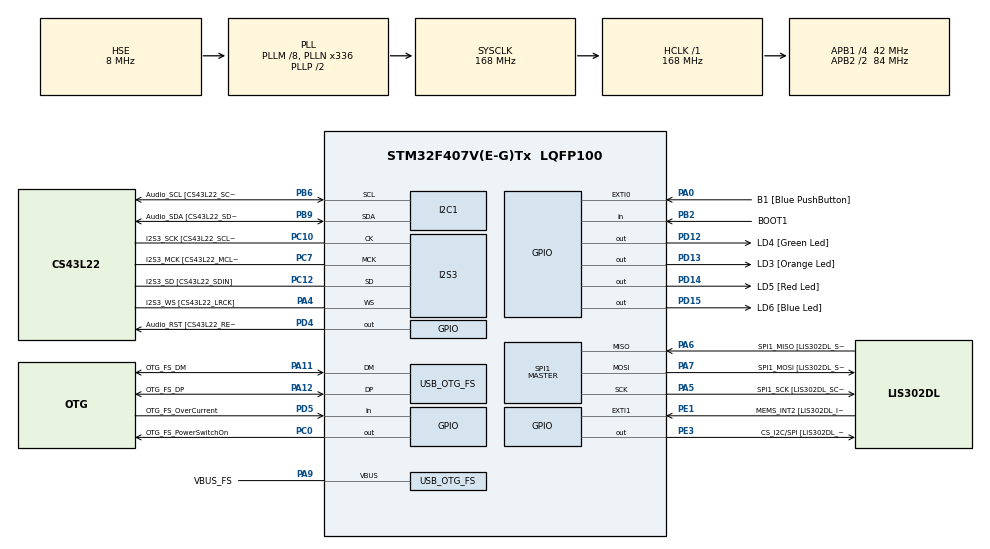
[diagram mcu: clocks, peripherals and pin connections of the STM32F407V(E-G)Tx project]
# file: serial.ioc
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I2S3.AudioFreq-Half_Duplex_Master=I2S_AUDIOFREQ_96K
I2S3.ErrorAudioFreq=-2.34 %
I2S3.ErrorAudioFreq-Half_Duplex_Master=0.8 %
I2S3.FullDuplexMode=I2S_FULLDUPLEXMODE_DISABLE
I2S3.Instance=SPI$Index
I2S3.RealAudioFreq=93.75 KHz
I2S3.RealAudioFreq-Half_Duplex_Master=96.774 KHz
I2S3.VirtualMode=I2S_MODE_MASTER
Mcu.Family=STM32F4
Mcu.Name=STM32F407V(E-G)Tx
Mcu.Package=LQFP100
NVIC.OTG_FS_IRQn=true\:0\:0\:false\:false\:true\:true\:true\:true
NVIC.PriorityGroup=NVIC_PRIORITYGROUP_0
PA0-WKUP.GPIO_Label=B1 [Blue PushButton]
PA0-WKUP.GPIO_ModeDefaultEXTI=GPIO_MODE_EVT_RISING
PA0-WKUP.GPIO_PuPd=GPIO_NOPULL
PA0-WKUP.Signal=GPXTI0
PA10.GPIO_Label=OTG_FS_ID
PA10.GPIO_Mode=GPIO_MODE_AF_PP
PA10.GPIO_PuPd=GPIO_NOPULL
PA10.GPIO_Speed=GPIO_SPEED_FREQ_LOW
PA10.Signal=USB_OTG_FS_ID
PA11.GPIO_Label=OTG_FS_DM
PA11.GPIO_Mode=GPIO_MODE_AF_PP
PA11.GPIO_PuPd=GPIO_NOPULL
PA11.GPIO_Speed=GPIO_SPEED_FREQ_LOW
PA11.Mode=Device_Only
PA11.Signal=USB_OTG_FS_DM
PA12.GPIO_Label=OTG_FS_DP
PA12.GPIO_Mode=GPIO_MODE_AF_PP
PA12.GPIO_PuPd=GPIO_NOPULL
PA12.GPIO_Speed=GPIO_SPEED_FREQ_LOW
PA12.Mode=Device_Only
PA12.Signal=USB_OTG_FS_DP
PA13.GPIO_Label=SWDIO
PA13.Mode=Serial_Wire
PA13.Signal=SYS_JTMS-SWDIO
PA14.GPIO_Label=SWCLK
PA14.Mode=Serial_Wire
PA14.Signal=SYS_JTCK-SWCLK
PA4.GPIO_Label=I2S3_WS [CS43L22_LRCK]
PA4.GPIO_Mode=GPIO_MODE_AF_PP
PA4.GPIO_PuPd=GPIO_NOPULL
PA4.GPIO_Speed=GPIO_SPEED_FREQ_LOW
PA4.Mode=Half_Duplex_Master
PA4.Signal=I2S3_WS
PA5.GPIO_Label=SPI1_SCK [LIS302DL_SCL/SPC]
PA5.GPIO_Mode=GPIO_MODE_AF_PP
PA5.GPIO_PuPd=GPIO_NOPULL
PA5.GPIO_Speed=GPIO_SPEED_FREQ_LOW
PA5.Mode=Full_Duplex_Master
PA5.Signal=SPI1_SCK
PA6.GPIO_Label=SPI1_MISO [LIS302DL_SDO]
PA6.GPIO_Mode=GPIO_MODE_AF_PP
PA6.GPIO_PuPd=GPIO_NOPULL
PA6.GPIO_Speed=GPIO_SPEED_FREQ_LOW
PA6.Mode=Full_Duplex_Master
PA6.Signal=SPI1_MISO
PA7.GPIO_Label=SPI1_MOSI [LIS302DL_SDA/SDI/SDO]
PA7.GPIO_Mode=GPIO_MODE_AF_PP
PA7.GPIO_PuPd=GPIO_NOPULL
PA7.GPIO_Speed=GPIO_SPEED_FREQ_LOW
PA7.Mode=Full_Duplex_Master
PA7.Signal=SPI1_MOSI
PA9.GPIO_Label=VBUS_FS
PA9.GPIO_Mode=GPIO_MODE_INPUT
PA9.GPIO_PuPd=GPIO_NOPULL
PA9.Mode=Activate_VBUS
PA9.Signal=USB_OTG_FS_VBUS
PB10.GPIO_Label=CLK_IN [MP45DT02_CLK]
PB10.GPIO_Mode=GPIO_MODE_AF_PP
PB10.GPIO_PuPd=GPIO_NOPULL
PB10.GPIO_Speed=GPIO_SPEED_FREQ_LOW
PB10.Signal=I2S2_CK
PB2.GPIO_Label=BOOT1
PB2.GPIO_Mode=GPIO_MODE_INPUT
PB2.GPIO_PuPd=GPIO_NOPULL
PB2.Signal=GPIO_Input
PB3.GPIO_Label=SWO
PB3.Signal=SYS_JTDO-SWO
PB6.GPIO_Label=Audio_SCL [CS43L22_SCL]
PB6.GPIO_Mode=GPIO_MODE_AF_OD
PB6.GPIO_Pu=GPIO_PULLUP
PB6.GPIO_PuPd=GPIO_NOPULL
PB6.GPIO_Speed=GPIO_SPEED_FREQ_LOW
PB6.Mode=I2C
PB6.Signal=I2C1_SCL
PB9.GPIO_Label=Audio_SDA [CS43L22_SDA]
PB9.GPIO_Mode=GPIO_MODE_AF_OD
PB9.GPIO_Pu=GPIO_PULLUP
PB9.GPIO_PuPd=GPIO_NOPULL
PB9.GPIO_Speed=GPIO_SPEED_FREQ_LOW
PB9.Mode=I2C
PB9.Signal=I2C1_SDA
PC0.GPIO_Label=OTG_FS_PowerSwitchOn
PC0.GPIO_PuPd=GPIO_NOPULL
PC0.GPIO_Speed=GPIO_SPEED_FREQ_LOW
PC0.PinState=GPIO_PIN_SET
PC0.Signal=GPIO_Output
PC10.GPIO_Label=I2S3_SCK [CS43L22_SCLK]
PC10.GPIO_Mode=GPIO_MODE_AF_PP
PC10.GPIO_PuPd=GPIO_NOPULL
PC10.GPIO_Speed=GPIO_SPEED_FREQ_LOW
PC10.Mode=Half_Duplex_Master
PC10.Signal=I2S3_CK
PC12.GPIO_Label=I2S3_SD [CS43L22_SDIN]
PC12.GPIO_Mode=GPIO_MODE_AF_PP
PC12.GPIO_PuPd=GPIO_NOPULL
PC12.GPIO_Speed=GPIO_SPEED_FREQ_LOW
PC12.Mode=Half_Duplex_Master
PC12.Signal=I2S3_SD
PC14-OSC32_IN.GPIO_Label=PC14-OSC32_IN
PC14-OSC32_IN.Mode=LSE-External-Oscillator
PC14-OSC32_IN.Signal=RCC_OSC32_IN
PC15-OSC32_OUT.GPIO_Label=PC15-OSC32_OUT
PC15-OSC32_OUT.Mode=LSE-External-Oscillator
PC15-OSC32_OUT.Signal=RCC_OSC32_OUT
PC3.GPIO_Label=PDM_OUT [MP45DT02_DOUT]
PC3.GPIO_Mode=GPIO_MODE_AF_PP
PC3.GPIO_PuPd=GPIO_NOPULL
PC3.GPIO_Speed=GPIO_SPEED_FREQ_LOW
PC3.Signal=I2S2_SD
PC7.GPIO_Label=I2S3_MCK [CS43L22_MCLK]
PC7.GPIO_Mode=GPIO_MODE_AF_PP
PC7.GPIO_PuPd=GPIO_NOPULL
PC7.GPIO_Speed=GPIO_SPEED_FREQ_LOW
PC7.Mode=Master_Clock_Activated
PC7.Signal=I2S3_MCK
PD12.GPIO_Label=LD4 [Green Led]
PD12.GPIO_PuPd=GPIO_NOPULL
PD12.GPIO_Speed=GPIO_SPEED_FREQ_LOW
PD12.Signal=GPIO_Output
PD13.GPIO_Label=LD3 [Orange Led]
PD13.GPIO_PuPd=GPIO_NOPULL
PD13.GPIO_Speed=GPIO_SPEED_FREQ_LOW
PD13.Signal=GPIO_Output
PD14.GPIO_Label=LD5 [Red Led]
PD14.GPIO_PuPd=GPIO_NOPULL
PD14.GPIO_Speed=GPIO_SPEED_FREQ_LOW
PD14.Signal=GPIO_Output
PD15.GPIO_Label=LD6 [Blue Led]
PD15.GPIO_PuPd=GPIO_NOPULL
PD15.GPIO_Speed=GPIO_SPEED_FREQ_LOW
PD15.Signal=GPIO_Output
PD4.GPIO_Label=Audio_RST [CS43L22_RESET]
PD4.GPIO_PuPd=GPIO_NOPULL
PD4.GPIO_Speed=GPIO_SPEED_FREQ_LOW
PD4.Signal=GPIO_Output
PD5.GPIO_Label=OTG_FS_OverCurrent
PD5.GPIO_Mode=GPIO_MODE_INPUT
PD5.GPIO_PuPd=GPIO_NOPULL
PD5.Signal=GPIO_Input
PE1.GPIO_Label=MEMS_INT2 [LIS302DL_INT2]
PE1.GPIO_ModeDefaultEXTI=GPIO_MODE_EVT_RISING
PE1.GPIO_PuPd=GPIO_NOPULL
PE1.Signal=GPXTI1
PE3.GPIO_Label=CS_I2C/SPI [LIS302DL_CS_I2C/SPI]
PE3.GPIO_PuPd=GPIO_NOPULL
PE3.GPIO_Speed=GPIO_SPEED_FREQ_LOW
PE3.Signal=GPIO_Output
PH0-OSC_IN.GPIO_Label=PH0-OSC_IN
PH0-OSC_IN.Mode=HSE-External-Oscillator
PH0-OSC_IN.Signal=RCC_OSC_IN
PH1-OSC_OUT.GPIO_Label=PH1-OSC_OUT
PH1-OSC_OUT.Mode=HSE-External-Oscillator
PH1-OSC_OUT.Signal=RCC_OSC_OUT
ProjectManager.HeapSize=0x400
ProjectManager.StackSize=0x400
ProjectManager.TargetToolchain=STM32CubeIDE
RCC.48MHZClocksFreq_Value=48000000
RCC.AHBFreq_Value=168000000
RCC.APB1CLKDivider=RCC_HCLK_DIV4
RCC.APB1Freq_Value=42000000
RCC.APB1TimFreq_Value=84000000
RCC.APB2CLKDivider=RCC_HCLK_DIV2
RCC.APB2Freq_Value=84000000
RCC.APB2TimFreq_Value=168000000
RCC.CortexFreq_Value=168000000
RCC.HCLKFreq_Value=168000000
RCC.HSE_VALUE=8000000
RCC.HSI_VALUE=16000000
RCC.PLLM=8
RCC.PLLN=336
RCC.PLLQ=7
RCC.SYSCLKFreq_VALUE=168000000
RCC.SYSCLKSource=RCC_SYSCLKSOURCE_PLLCLK
RCC.VCOOutputFreq_Value=336000000
SPI1.BaudRatePrescaler-Full_Duplex_Master=SPI_BAUDRATEPRESCALER_2
SPI1.CalculateBaudRate-Full_Duplex_Master=42.0 MBits/s
SPI1.Direction=SPI_DIRECTION_2LINES
SPI1.Mode=SPI_MODE_MASTER
SPI1.Mode-Full_Duplex_Master=SPI_MODE_MASTER
SPI1.VirtualType=VM_MASTER
USB_DEVICE.CLASS_NAME_FS=CDC
USB_DEVICE.VirtualMode-CDC_FS=Cdc
USB_DEVICE.VirtualModeFS=Cdc_FS
USB_OTG_FS.VirtualMode=Device_Only
VP_CRC_VS_CRC.Mode=CRC_Activate
VP_RNG_VS_RNG.Mode=RNG_Activate
VP_USB_DEVICE_VS_USB_DEVICE_CDC_FS.Mode=CDC_FS
VP_wolfSSL.I-CUBE-wolfSSL_VS_wolfSSLJjwolfSSL_5.7.6_5.7.6.Mode=wolfSSLJjwolfSSL
board=STM32F407G-DISC1
wolfSSL.I-CUBE-wolfSSL.5.7.6.WOLF_CONF_AESCBC=1
wolfSSL.I-CUBE-wolfSSL.5.7.6.WOLF_CONF_OPENSSL_EXTRA=1
wolfSSL.I-CUBE-wolfSSL.5.7.6.WOLF_CONF_RNG=1
wolfSSL.I-CUBE-wolfSSL.5.7.6.wolfSSLCcwolfSSLJjwolfCryptJjCore=true
wolfSSL.I-CUBE-wolfSSL.5.7.6.wolfSSLCcwolfSSLJjwolfSSLJjCore=true

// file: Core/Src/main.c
/* USER CODE BEGIN Header */
/**
  ******************************************************************************
  * @file           : main.c
  * @brief          : Main program body
  ******************************************************************************
  * @attention
  *
  * Copyright (c) 2025 STMicroelectronics.
  * All rights reserved.
  *
  * This software is licensed under terms that can be found in the LICENSE file
  * in the root directory of this software component.
  * If no LICENSE file comes with this software, it is provided AS-IS.
  *
  ******************************************************************************
  */
/* USER CODE END Header */
#include "main.h"
#include "usb_device.h"

/* USER CODE BEGIN Includes */
#include "commhandler.h"
#include "usbd_cdc_if.h"
/* USER CODE END Includes */

CRC_HandleTypeDef hcrc;

I2C_HandleTypeDef hi2c1;

I2S_HandleTypeDef hi2s3;

RNG_HandleTypeDef hrng;

SPI_HandleTypeDef hspi1;

/* USER CODE BEGIN PV */
uint8_t messageCounter = 1;
uint8_t dataReceivedFlag = 0;
uint8_t receiveBuffer[2000];
uint16_t receiveCounter = 0;
uint8_t sendBuffer[2500];
uint16_t sendCounter = 0;
const unsigned char tokenCert[] = {
		0x30,0x82,0x03,0x47,0x30,0x82,0x02,0x2f,0x02,0x14,0x6c,0xb5,0x5b,0xfc,0x6c,0x8a,
		0xd1,0xbe,0xd9,0xfb,0x6f,0x06,0xd3,0x68,0x33,0x38,0xe8,0x1b,0xc7,0x08,0x30,0x0d,
		0x06,0x09,0x2a,0x86,0x48,0x86,0xf7,0x0d,0x01,0x01,0x0b,0x05,0x00,0x30,0x5e,0x31,
		0x0b,0x30,0x09,0x06,0x03,0x55,0x04,0x06,0x13,0x02,0x53,0x4b,0x31,0x0f,0x30,0x0d,
		0x06,0x03,0x55,0x04,0x08,0x0c,0x06,0x4b,0x6f,0x73,0x69,0x63,0x65,0x31,0x0f,0x30,
		0x0d,0x06,0x03,0x55,0x04,0x07,0x0c,0x06,0x4b,0x6f,0x73,0x69,0x63,0x65,0x31,0x0d,
		0x30,0x0b,0x06,0x03,0x55,0x04,0x0a,0x0c,0x04,0x55,0x50,0x4a,0x53,0x31,0x11,0x30,
		0x0f,0x06,0x03,0x55,0x04,0x0b,0x0c,0x08,0x64,0x69,0x70,0x6c,0x6f,0x6d,0x6b,0x61,
		0x31,0x0b,0x30,0x09,0x06,0x03,0x55,0x04,0x03,0x0c,0x02,0x43,0x41,0x30,0x1e,0x17,
		0x0d,0x32,0x35,0x30,0x38,0x31,0x39,0x31,0x36,0x34,0x37,0x35,0x36,0x5a,0x17,0x0d,
		0x32,0x37,0x31,0x31,0x32,0x32,0x31,0x36,0x34,0x37,0x35,0x36,0x5a,0x30,0x62,0x31,
		0x0b,0x30,0x09,0x06,0x03,0x55,0x04,0x06,0x13,0x02,0x53,0x4b,0x31,0x0f,0x30,0x0d,
		0x06,0x03,0x55,0x04,0x08,0x0c,0x06,0x4b,0x6f,0x73,0x69,0x63,0x65,0x31,0x0f,0x30,
		0x0d,0x06,0x03,0x55,0x04,0x07,0x0c,0x06,0x4b,0x6f,0x73,0x69,0x63,0x65,0x31,0x21,
		0x30,0x1f,0x06,0x03,0x55,0x04,0x0a,0x0c,0x18,0x49,0x6e,0x74,0x65,0x72,0x6e,0x65,
		0x74,0x20,0x57,0x69,0x64,0x67,0x69,0x74,0x73,0x20,0x50,0x74,0x79,0x20,0x4c,0x74,
		0x64,0x31,0x0e,0x30,0x0c,0x06,0x03,0x55,0x04,0x03,0x0c,0x05,0x74,0x6f,0x6b,0x65,
		0x6e,0x30,0x82,0x01,0x22,0x30,0x0d,0x06,0x09,0x2a,0x86,0x48,0x86,0xf7,0x0d,0x01,
		0x01,0x01,0x05,0x00,0x03,0x82,0x01,0x0f,0x00,0x30,0x82,0x01,0x0a,0x02,0x82,0x01,
		0x01,0x00,0x9b,0x86,0x6f,0x54,0x33,0xe2,0x80,0xca,0x05,0x8f,0xa9,0xd4,0xec,0x40,
		0x1f,0x84,0x76,0x74,0x01,0x02,0xc4,0xd3,0xdd,0xa3,0xeb,0xfa,0xf2,0xe4,0xf0,0xa4,
		0x5c,0xd8,0x17,0xd9,0xb6,0x61,0x38,0xda,0x6f,0x64,0xc2,0xd1,0xb7,0x0b,0xba,0xb3,
		0x18,0x85,0x61,0x04,0x64,0xec,0x26,0xd2,0xf4,0x59,0xc0,0x25,0xa4,0x41,0xa8,0x25,
		0xbc,0xfe,0x74,0xcc,0x37,0x5e,0x8c,0xc6,0x2d,0xdb,0x4b,0xc8,0x4e,0xb3,0xd2,0x83,
		0x5c,0x44,0xbd,0x07,0x26,0x09,0xeb,0x2a,0x66,0x5d,0x81,0xd4,0x0c,0x16,0xc6,0x50,
		0x1f,0xca,0x97,0xf8,0x61,0x6d,0x80,0x3b,0x07,0x69,0x47,0x71,0xe7,0x5c,0x3a,0x97,
		0x22,0x30,0x4e,0x5c,0xec,0x49,0x50,0x21,0x2e,0x52,0x4d,0x9a,0x7b,0x6b,0x03,0xbf,
		0x8e,0x61,0x60,0xc9,0x79,0x52,0x3b,0x91,0xcc,0xc9,0x79,0xb3,0xdc,0xec,0xc2,0xd0,
		0xb5,0x8c,0x0e,0xc6,0x79,0xdd,0xd2,0xc8,0xb9,0x2e,0xc6,0x9f,0x41,0x29,0x36,0xb5,
		0x18,0x68,0x88,0xbf,0xc1,0x24,0x7b,0xf7,0x46,0x52,0x0d,0x14,0x39,0xbd,0xae,0x83,
		0x11,0x43,0x1a,0x9d,0x4b,0x07,0xda,0xac,0x84,0xba,0x69,0x92,0x50,0x5e,0x54,0x74,
		0x47,0x1d,0x25,0xcb,0x2a,0x6c,0x1c,0xfa,0x57,0x7d,0x67,0xb4,0xa6,0xb8,0x85,0x1f,
		0xfe,0x9e,0x6e,0xae,0x11,0x44,0x95,0xd4,0xa3,0x65,0x52,0x62,0x9d,0x61,0xab,0xca,
		0x79,0x79,0x3e,0x6e,0xac,0xef,0x3f,0x3a,0xec,0x41,0x56,0xe8,0xe6,0x33,0xb4,0x89,
		0x9f,0xb7,0x97,0x40,0x6c,0x72,0x1b,0x54,0x81,0xc3,0xdc,0xef,0x05,0xd7,0x66,0x33,
		0x89,0x71,0x02,0x03,0x01,0x00,0x01,0x30,0x0d,0x06,0x09,0x2a,0x86,0x48,0x86,0xf7,
		0x0d,0x01,0x01,0x0b,0x05,0x00,0x03,0x82,0x01,0x01,0x00,0x73,0x19,0x96,0xce,0x0d,
		0x5e,0xa1,0x92,0xb8,0x26,0x40,0x8d,0x4b,0x92,0x4b,0xb9,0x6d,0x35,0xe8,0xcf,0x38,
		0xe8,0x58,0xaf,0xb6,0x0e,0x18,0xad,0xf1,0x9e,0x76,0x42,0x73,0x52,0x26,0x1a,0xec,
		0x2c,0xc3,0xb3,0x33,0x37,0x19,0xca,0x75,0xd3,0x97,0x66,0xf7,0x49,0x60,0xa9,0xbe,
		0xae,0x06,0x28,0xd3,0x14,0xbb,0x59,0xba,0x7c,0x4b,0x2e,0x96,0x7a,0x16,0x73,0xf6,
		0xf3,0x3d,0x38,0xd1,0xde,0xb5,0x3f,0x84,0x77,0xb4,0xe2,0xbb,0xc5,0x47,0x64,0x98,
		0x1d,0x96,0xa7,0x9a,0x45,0x78,0xfb,0xa3,0xf1,0xa4,0x44,0x2e,0x9d,0xec,0xe0,0x1d,
		0x47,0x1b,0x86,0x7c,0x54,0xe9,0x5a,0x3a,0xa1,0xf8,0xa7,0x78,0x89,0x3c,0xf5,0x8e,
		0x35,0xb1,0x9e,0x4d,0x09,0xef,0x79,0xb5,0x79,0xaf,0x66,0x34,0x19,0xa0,0x9f,0x7c,
		0x8c,0x5f,0xdc,0x19,0x4a,0xe3,0x00,0x88,0xbe,0xd3,0x87,0x8a,0xe9,0x1b,0xb1,0xe4,
		0xbe,0x51,0xe2,0x9b,0x88,0xad,0x02,0xfc,0xec,0xf7,0xc6,0x14,0xf0,0x7e,0xcc,0x1c,
		0xe2,0xf3,0xab,0x51,0xd9,0xa0,0x9a,0xe8,0xcb,0x2d,0x80,0x18,0x54,0x7d,0x27,0xb4,
		0xa4,0x66,0xde,0x63,0x82,0xd9,0xcc,0xa7,0x80,0xc0,0x80,0xc1,0xc9,0xba,0xd8,0xd6,
		0x16,0xb0,0x25,0x2c,0xff,0xa1,0x35,0x32,0x6e,0x0a,0x66,0xb7,0x61,0x82,0x1d,0xdf,
		0x15,0xcb,0x9c,0x1b,0xd5,0x25,0x01,0xb3,0x53,0xfa,0xd0,0x5f,0x35,0x17,0x26,0x96,
		0x72,0x9d,0x44,0x16,0x6a,0x3b,0xbd,0xa6,0x7f,0x55,0x31,0xcd,0x8c,0xb5,0x03,0xab,
		0x7b,0x67,0x8e,0x9a,0x9c,0xb1,0x8c,0x6b,0x14,0x4d,0xab
};
const uint16_t tokenCertLen = sizeof(tokenCert);
const unsigned char tokenPrivKey[] = {
		0x30,0x82,0x04,0xbc,0x02,0x01,0x00,0x30,0x0d,0x06,0x09,0x2a,0x86,0x48,0x86,0xf7,
		0x0d,0x01,0x01,0x01,0x05,0x00,0x04,0x82,0x04,0xa6,0x30,0x82,0x04,0xa2,0x02,0x01,
		0x00,0x02,0x82,0x01,0x01,0x00,0x9b,0x86,0x6f,0x54,0x33,0xe2,0x80,0xca,0x05,0x8f,
		0xa9,0xd4,0xec,0x40,0x1f,0x84,0x76,0x74,0x01,0x02,0xc4,0xd3,0xdd,0xa3,0xeb,0xfa,
		0xf2,0xe4,0xf0,0xa4,0x5c,0xd8,0x17,0xd9,0xb6,0x61,0x38,0xda,0x6f,0x64,0xc2,0xd1,
		0xb7,0x0b,0xba,0xb3,0x18,0x85,0x61,0x04,0x64,0xec,0x26,0xd2,0xf4,0x59,0xc0,0x25,
		0xa4,0x41,0xa8,0x25,0xbc,0xfe,0x74,0xcc,0x37,0x5e,0x8c,0xc6,0x2d,0xdb,0x4b,0xc8,
		0x4e,0xb3,0xd2,0x83,0x5c,0x44,0xbd,0x07,0x26,0x09,0xeb,0x2a,0x66,0x5d,0x81,0xd4,
		0x0c,0x16,0xc6,0x50,0x1f,0xca,0x97,0xf8,0x61,0x6d,0x80,0x3b,0x07,0x69,0x47,0x71,
		0xe7,0x5c,0x3a,0x97,0x22,0x30,0x4e,0x5c,0xec,0x49,0x50,0x21,0x2e,0x52,0x4d,0x9a,
		0x7b,0x6b,0x03,0xbf,0x8e,0x61,0x60,0xc9,0x79,0x52,0x3b,0x91,0xcc,0xc9,0x79,0xb3,
		0xdc,0xec,0xc2,0xd0,0xb5,0x8c,0x0e,0xc6,0x79,0xdd,0xd2,0xc8,0xb9,0x2e,0xc6,0x9f,
		0x41,0x29,0x36,0xb5,0x18,0x68,0x88,0xbf,0xc1,0x24,0x7b,0xf7,0x46,0x52,0x0d,0x14,
		0x39,0xbd,0xae,0x83,0x11,0x43,0x1a,0x9d,0x4b,0x07,0xda,0xac,0x84,0xba,0x69,0x92,
		0x50,0x5e,0x54,0x74,0x47,0x1d,0x25,0xcb,0x2a,0x6c,0x1c,0xfa,0x57,0x7d,0x67,0xb4,
		0xa6,0xb8,0x85,0x1f,0xfe,0x9e,0x6e,0xae,0x11,0x44,0x95,0xd4,0xa3,0x65,0x52,0x62,
		0x9d,0x61,0xab,0xca,0x79,0x79,0x3e,0x6e,0xac,0xef,0x3f,0x3a,0xec,0x41,0x56,0xe8,
		0xe6,0x33,0xb4,0x89,0x9f,0xb7,0x97,0x40,0x6c,0x72,0x1b,0x54,0x81,0xc3,0xdc,0xef,
		0x05,0xd7,0x66,0x33,0x89,0x71,0x02,0x03,0x01,0x00,0x01,0x02,0x82,0x01,0x00,0x49,
		0xd8,0x37,0x95,0x1d,0xfb,0x9e,0x96,0x0d,0xb4,0xec,0x79,0x16,0x61,0xcd,0xf5,0x39,
		0xbf,0x13,0xd9,0xca,0x36,0x24,0xa7,0x57,0xfd,0x34,0x06,0x43,0x42,0x6f,0x79,0x05,
		0x3e,0x10,0xcc,0x31,0xcf,0xf9,0x93,0x38,0xb3,0x95,0xbb,0xa2,0x7e,0xb6,0x16,0x62,
		0x7d,0xd1,0x23,0x95,0xbd,0x95,0x5a,0xe6,0x12,0x99,0x5e,0xb9,0x65,0x8d,0xca,0xae,
		0x0f,0x66,0xfc,0xe4,0x4f,0x96,0xe7,0x68,0xa0,0xa7,0xc9,0xd7,0x1b,0x1b,0x1c,0xe2,
		0x39,0xfa,0x34,0x3c,0x6e,0x49,0xe3,0x7d,0x28,0xff,0x42,0x73,0x10,0x09,0x40,0x4b,
		0x0f,0x1a,0xc7,0x80,0xda,0xc6,0x46,0x95,0x2f,0x3e,0xa0,0xba,0x8b,0x17,0x27,0x23,
		0x96,0x18,0x75,0x28,0xf0,0x50,0x4b,0xb0,0xe0,0x38,0x58,0x94,0x13,0x88,0x98,0xf3,
		0x74,0xd3,0xee,0x3f,0x8a,0xbf,0x05,0x66,0x69,0x3a,0xae,0x0f,0xbc,0x06,0x1d,0x0a,
		0xeb,0x39,0xfa,0xc1,0x5e,0x21,0x9a,0xf8,0x3c,0x62,0x85,0xbf,0x99,0x31,0x48,0x7a,
		0xf3,0xfa,0xe6,0x45,0xf6,0x3c,0x5f,0x4a,0x25,0x55,0x14,0x2d,0x2a,0xda,0xee,0x2c,
		0xe7,0xe2,0xb8,0x33,0xc9,0x21,0x86,0xa9,0x7a,0x5f,0x0b,0xd5,0x74,0xec,0xd1,0xe2,
		0x25,0x52,0xef,0x02,0x2f,0xb4,0x3a,0xfd,0x15,0xe5,0x90,0xc0,0x5d,0xc5,0x81,0x83,
		0x57,0xa7,0x11,0x9b,0xcd,0x9c,0xa1,0xae,0x18,0x4f,0xec,0x8d,0x2a,0x22,0xf1,0x3b,
		0x89,0x30,0x39,0xb3,0xb9,0x49,0x6f,0x81,0x4e,0x60,0xac,0xb6,0x00,0xd1,0xac,0x04,
		0x42,0x0d,0x9c,0x8b,0x58,0x94,0xba,0x22,0x05,0x64,0x61,0xd8,0x2d,0x4e,0x1f,0x02,
		0x81,0x81,0x00,0xc3,0xe2,0xe3,0x5c,0x89,0x4b,0xd8,0x9e,0xbb,0xd3,0x71,0x44,0x3d,
		0x48,0x52,0xf4,0x42,0x92,0xec,0x92,0x9c,0xf9,0x33,0xd2,0x0c,0x35,0xdb,0x53,0xb3,
		0x6b,0x48,0xe0,0x64,0xf1,0x63,0xf4,0x6c,0x94,0x2c,0x83,0x62,0x23,0x96,0x4d,0x8f,
		0xaf,0x12,0xff,0x87,0xf4,0x05,0x8e,0x09,0xdf,0x60,0x02,0x6a,0x1e,0x49,0x19,0x78,
		0x43,0x89,0x7e,0x7b,0xee,0xcf,0x76,0x31,0x8a,0xa0,0x38,0x6e,0xa3,0x3d,0x5a,0xba,
		0x67,0xe3,0x87,0xc6,0xc5,0x47,0x08,0x0d,0x5e,0xe0,0x80,0x6b,0xae,0x79,0x8c,0x55,
		0x92,0x6c,0xff,0x21,0xe5,0xe1,0x5f,0xe3,0x58,0x09,0x84,0x2a,0xa4,0xd5,0xc5,0x2c,
		0x76,0xa6,0xf5,0xb1,0x18,0x24,0x89,0xda,0xb8,0x88,0x70,0x86,0xd4,0x5f,0x7c,0x32,
		0xd4,0xf1,0x6b,0x02,0x81,0x81,0x00,0xcb,0x40,0xb7,0x60,0x70,0xbd,0xf8,0x9b,0xb7,
		0xc9,0xa5,0xd5,0x11,0x17,0xc6,0xdd,0xa2,0xa9,0x60,0xcf,0xaa,0x0c,0x96,0xdd,0x34,
		0x5f,0x50,0x49,0x67,0x68,0x6c,0x82,0xf9,0xbe,0x0d,0x23,0x59,0xc8,0x61,0x13,0x99,
		0xc2,0xe1,0xfd,0xb1,0xde,0xfa,0xba,0xf2,0x40,0xc2,0x9a,0x14,0xd7,0xd8,0x13,0x1f,
		0x75,0xab,0x61,0x99,0xc7,0xe7,0x3c,0xae,0x7f,0xbf,0xaf,0x08,0x21,0x48,0x0f,0x9b,
		0x4d,0x95,0xfb,0xd0,0x7b,0x5e,0x27,0xe3,0x6a,0xc8,0x9f,0x30,0xdc,0xca,0x8b,0xfe,
		0xda,0x8f,0x31,0xfd,0xc7,0x46,0x15,0x2c,0x02,0x80,0x62,0x36,0xde,0x98,0x14,0xeb,
		0x39,0xa0,0xe8,0x4c,0xde,0x7d,0xb1,0x5e,0x22,0x2d,0x78,0x27,0x3a,0x72,0xa0,0x02,
		0x43,0x84,0x85,0x70,0xeb,0xfb,0x93,0x02,0x81,0x80,0x04,0xa7,0x5e,0x49,0x73,0x85,
		0x96,0xc6,0xe6,0xa5,0x76,0x5a,0x6d,0xae,0x4b,0x32,0x3c,0x66,0xab,0x32,0x2c,0x82,
		0x8b,0x25,0xa1,0x5e,0xa2,0x30,0x51,0xe1,0xe9,0xa0,0x53,0x25,0x9c,0xff,0x50,0x99,
		0x10,0x99,0xaa,0x7a,0x37,0xf6,0xed,0xc3,0xf6,0x0a,0x96,0x1b,0x49,0x0a,0x7f,0xd7,
		0x8b,0xbb,0x62,0xf4,0x07,0x3e,0x90,0xa9,0xe2,0x19,0x5c,0x2e,0x67,0x45,0x62,0x95,
		0xed,0x8a,0x89,0xae,0x5d,0x25,0xcb,0xa9,0xee,0x30,0xea,0x9b,0x03,0x3e,0x00,0xbb,
		0x51,0x50,0x1b,0xbe,0xd0,0x6a,0x72,0x1a,0x01,0x76,0xea,0x42,0x40,0xe1,0x7b,0x50,
		0x3b,0x21,0xa5,0xb5,0xb6,0xd2,0x71,0x64,0xfc,0x40,0x78,0x0d,0x9f,0xc8,0x9a,0xa6,
		0xa9,0xaf,0x2a,0xb4,0xde,0xf3,0xdf,0x6d,0x49,0xb3,0x02,0x81,0x80,0x10,0xf9,0x41,
		0x97,0x23,0x33,0x2a,0x2c,0xce,0xe7,0x5f,0x1a,0xf1,0x07,0x7c,0x4b,0x0c,0x07,0x7b,
		0x17,0x3c,0x8b,0x3a,0x9a,0x14,0x82,0x95,0x30,0xdc,0x1a,0xe3,0x5c,0xf8,0xc0,0x3f,
		0x56,0xa1,0x6b,0xd3,0x77,0x90,0x92,0xae,0xce,0xc1,0xe8,0xee,0x25,0x68,0x8f,0xb1,
		0xf0,0xae,0x26,0xec,0x5b,0x84,0x78,0x0e,0x2c,0xe3,0x6b,0xc7,0x4a,0xd1,0x03,0xc8,
		0x1d,0x34,0xdf,0x9a,0xa5,0xfb,0x01,0x3a,0xb2,0x41,0xd1,0xdb,0xa6,0x17,0x1e,0xd6,
		0xcc,0x3c,0x87,0x63,0xbe,0xd7,0x34,0xa7,0x5a,0xb4,0x67,0xcc,0xd9,0x7d,0xc8,0x63,
		0xb2,0x50,0x04,0xbc,0xcc,0x9a,0x6c,0x40,0x9c,0xc5,0xb6,0x9a,0xe6,0x92,0x06,0xe6,
		0xa7,0x2f,0x17,0x79,0x75,0x15,0x5b,0x50,0x18,0xd8,0xba,0x4c,0x53,0x02,0x81,0x80,
		0x01,0xc5,0x79,0x43,0x4c,0x89,0xed,0xd3,0xd0,0xaf,0x1a,0xfd,0xd6,0xbb,0xce,0xbd,
		0x1a,0xe7,0xa8,0x09,0x6c,0xfe,0x21,0x94,0x4c,0x2c,0x03,0xbb,0x22,0xbb,0x74,0x4c,
		0xf5,0xc3,0x9a,0xd8,0x28,0x82,0x72,0xc7,0xa7,0x24,0x5f,0xbb,0x89,0x46,0x2e,0x3f,
		0x3c,0x36,0x52,0x2b,0x60,0x0e,0x98,0xd8,0x02,0x8a,0x6b,0x90,0x2a,0x95,0x8c,0x6b,
		0xa3,0xce,0x2a,0x83,0xab,0x81,0xc2,0x2f,0x46,0x3e,0x9a,0x25,0x61,0xcf,0xc9,0xae,
		0xcb,0xc5,0xdb,0xc6,0x59,0x23,0x48,0x72,0x85,0xda,0x46,0x06,0x2e,0x6c,0xab,0x70,
		0x38,0xe5,0x4e,0xdf,0x16,0x05,0x5e,0xda,0x32,0x37,0xa1,0x74,0xdb,0x01,0xbf,0x8c,
		0xd9,0x92,0xa0,0x80,0x9b,0xb2,0x07,0x06,0xa4,0x31,0x4c,0xfc,0xb5,0x0a,0x41,0x2d
};
const uint16_t tokenPrivKeyLen = sizeof(tokenPrivKey);
const unsigned char CACert[] = {
		0x30,0x82,0x03,0x9d,0x30,0x82,0x02,0x85,0xa0,0x03,0x02,0x01,0x02,0x02,0x14,0x24,
		0x82,0x73,0x6a,0x59,0xfa,0x10,0xa8,0x4e,0xb4,0xe6,0xb6,0x50,0x90,0xf8,0x39,0x7e,
		0xe7,0x0e,0xff,0x30,0x0d,0x06,0x09,0x2a,0x86,0x48,0x86,0xf7,0x0d,0x01,0x01,0x0b,
		0x05,0x00,0x30,0x5e,0x31,0x0b,0x30,0x09,0x06,0x03,0x55,0x04,0x06,0x13,0x02,0x53,
		0x4b,0x31,0x0f,0x30,0x0d,0x06,0x03,0x55,0x04,0x08,0x0c,0x06,0x4b,0x6f,0x73,0x69,
		0x63,0x65,0x31,0x0f,0x30,0x0d,0x06,0x03,0x55,0x04,0x07,0x0c,0x06,0x4b,0x6f,0x73,
		0x69,0x63,0x65,0x31,0x0d,0x30,0x0b,0x06,0x03,0x55,0x04,0x0a,0x0c,0x04,0x55,0x50,
		0x4a,0x53,0x31,0x11,0x30,0x0f,0x06,0x03,0x55,0x04,0x0b,0x0c,0x08,0x64,0x69,0x70,
		0x6c,0x6f,0x6d,0x6b,0x61,0x31,0x0b,0x30,0x09,0x06,0x03,0x55,0x04,0x03,0x0c,0x02,
		0x43,0x41,0x30,0x1e,0x17,0x0d,0x32,0x35,0x30,0x38,0x31,0x39,0x31,0x36,0x34,0x31,
		0x35,0x33,0x5a,0x17,0x0d,0x33,0x30,0x30,0x38,0x31,0x38,0x31,0x36,0x34,0x31,0x35,
		0x33,0x5a,0x30,0x5e,0x31,0x0b,0x30,0x09,0x06,0x03,0x55,0x04,0x06,0x13,0x02,0x53,
		0x4b,0x31,0x0f,0x30,0x0d,0x06,0x03,0x55,0x04,0x08,0x0c,0x06,0x4b,0x6f,0x73,0x69,
		0x63,0x65,0x31,0x0f,0x30,0x0d,0x06,0x03,0x55,0x04,0x07,0x0c,0x06,0x4b,0x6f,0x73,
		0x69,0x63,0x65,0x31,0x0d,0x30,0x0b,0x06,0x03,0x55,0x04,0x0a,0x0c,0x04,0x55,0x50,
		0x4a,0x53,0x31,0x11,0x30,0x0f,0x06,0x03,0x55,0x04,0x0b,0x0c,0x08,0x64,0x69,0x70,
		0x6c,0x6f,0x6d,0x6b,0x61,0x31,0x0b,0x30,0x09,0x06,0x03,0x55,0x04,0x03,0x0c,0x02,
		0x43,0x41,0x30,0x82,0x01,0x22,0x30,0x0d,0x06,0x09,0x2a,0x86,0x48,0x86,0xf7,0x0d,
		0x01,0x01,0x01,0x05,0x00,0x03,0x82,0x01,0x0f,0x00,0x30,0x82,0x01,0x0a,0x02,0x82,
		0x01,0x01,0x00,0xa7,0xf4,0xe1,0x26,0xaf,0xfb,0x89,0x2b,0x0b,0xbd,0x14,0x13,0xda,
		0xd7,0x04,0xd4,0xf8,0x35,0x96,0xfc,0x83,0xc8,0x39,0x02,0x1f,0x41,0x16,0x4e,0xf1,
		0x27,0x41,0xa2,0x13,0x8b,0x61,0xe6,0xc7,0x43,0x1e,0xed,0xfc,0x2a,0x77,0xba,0x46,
		0x98,0xe2,0x7b,0xa0,0x80,0x65,0x1c,0xa5,0x4a,0x5c,0xbe,0x9d,0x2f,0x02,0x57,0xf2,
		0x9a,0x80,0xbd,0x6f,0xe6,0xba,0x90,0x6a,0x01,0xd3,0xa2,0xc3,0xe2,0x5e,0xdd,0xe0,
		0x11,0x39,0x67,0x3d,0xe1,0x07,0xc7,0xb9,0xbe,0x4f,0x0c,0x36,0x72,0xa3,0x0b,0x54,
		0xeb,0x1a,0xb9,0x11,0xd9,0x62,0xb0,0x81,0xfa,0x60,0x0c,0x5a,0x97,0x5f,0x46,0x73,
		0x3d,0x8e,0x29,0x9a,0x83,0x2e,0xb7,0x8d,0x35,0x49,0xa6,0x7d,0x49,0xbc,0x65,0xd8,
		0x6d,0x01,0x80,0xff,0x82,0xa8,0xd8,0x9f,0x37,0x78,0x44,0xac,0x42,0xe6,0x5c,0xfa,
		0x8b,0xa4,0x4c,0xb0,0x03,0xa3,0x19,0xf2,0x65,0xfd,0x0f,0xc9,0xad,0x92,0x33,0x41,
		0xa6,0x7c,0x0f,0x59,0x65,0x25,0xd6,0xa8,0xe5,0x20,0x12,0x45,0xa9,0xa5,0xe1,0x9c,
		0x99,0x9a,0x17,0x69,0xae,0x32,0x44,0xca,0x0c,0xcc,0x65,0x2f,0xca,0xfc,0x39,0x07,
		0x3a,0x32,0xcd,0x73,0xb9,0x03,0xe2,0xde,0x98,0x12,0x7d,0x52,0xd8,0x87,0x05,0x82,
		0x58,0xb0,0x10,0xcc,0xe5,0xc0,0x38,0x17,0xdd,0xdc,0x63,0xa9,0x2d,0xe3,0xee,0x29,
		0x25,0x16,0x30,0x2c,0x8e,0x60,0x9a,0x78,0x89,0x24,0xf1,0x5a,0xc4,0x40,0x7e,0x9d,
		0xa9,0xab,0xd4,0xce,0xf3,0xcb,0xcb,0xb3,0x83,0xf5,0xc8,0x23,0x0c,0x5f,0x4b,0xa2,
		0x6e,0x28,0xbf,0x02,0x03,0x01,0x00,0x01,0xa3,0x53,0x30,0x51,0x30,0x1d,0x06,0x03,
		0x55,0x1d,0x0e,0x04,0x16,0x04,0x14,0xc2,0x53,0x15,0x07,0x71,0xe2,0x37,0x7e,0x7f,
		0x84,0xc1,0x12,0xdd,0x9a,0x50,0xd7,0x2d,0x24,0xd0,0x54,0x30,0x1f,0x06,0x03,0x55,
		0x1d,0x23,0x04,0x18,0x30,0x16,0x80,0x14,0xc2,0x53,0x15,0x07,0x71,0xe2,0x37,0x7e,
		0x7f,0x84,0xc1,0x12,0xdd,0x9a,0x50,0xd7,0x2d,0x24,0xd0,0x54,0x30,0x0f,0x06,0x03,
		0x55,0x1d,0x13,0x01,0x01,0xff,0x04,0x05,0x30,0x03,0x01,0x01,0xff,0x30,0x0d,0x06,
		0x09,0x2a,0x86,0x48,0x86,0xf7,0x0d,0x01,0x01,0x0b,0x05,0x00,0x03,0x82,0x01,0x01,
		0x00,0x1e,0x9d,0x6c,0xe6,0xb4,0x2e,0x46,0x54,0xea,0x12,0xf4,0xb2,0xf3,0x8c,0x0e,
		0xc5,0xb0,0x61,0x40,0x37,0x51,0xff,0x71,0xd0,0xc8,0x37,0xdb,0x68,0x8d,0x39,0xec,
		0xc0,0xe7,0x20,0x09,0x97,0xcc,0xe9,0xea,0xf0,0x1c,0x21,0xb1,0x57,0x3f,0x6a,0x62,
		0x45,0x58,0xbe,0x73,0xb4,0x26,0xaf,0xd0,0x89,0xbe,0x6d,0x0e,0x98,0x07,0x03,0xe3,
		0x9a,0x5a,0xc8,0xf4,0xb5,0x4e,0xfe,0xd8,0x10,0x63,0xab,0x66,0x73,0x6e,0xb9,0x24,
		0xf5,0xf3,0x4e,0x9a,0x41,0xa4,0x55,0x7c,0x16,0x99,0x96,0x66,0xec,0x7c,0xd6,0x5c,
		0x8e,0x7e,0xcf,0x36,0xfd,0x71,0x65,0x2a,0x33,0xa5,0xd2,0xb5,0x14,0xb5,0x5c,0x4b,
		0xe4,0x21,0xab,0x9f,0x4a,0x1e,0xff,0x46,0x9e,0xfc,0x44,0x1f,0xae,0xd3,0x23,0x79,
		0xb7,0x2e,0x4b,0x25,0xc2,0x6a,0x00,0xdf,0xa6,0xa0,0xb6,0xcd,0xf7,0xc4,0xaa,0x4e,
		0xba,0xc4,0x53,0xba,0x61,0xcf,0x66,0x6c,0x31,0x4d,0xe0,0xa3,0x12,0xb2,0xd0,0xd8,
		0x88,0x97,0x4c,0x7c,0xcf,0xd8,0x43,0xfd,0x1f,0x0c,0x67,0x47,0x19,0xb5,0x62,0x90,
		0x1a,0xd1,0x4b,0xfa,0x8b,0xf6,0x34,0x7f,0xbf,0x4a,0xa2,0xf6,0xca,0x81,0x76,0x9e,
		0xe5,0xd3,0xed,0xef,0x92,0xc6,0xe4,0xd9,0x4c,0xf2,0x50,0x75,0xfa,0x11,0xb9,0x8a,
		0x98,0xa3,0xeb,0x22,0xfe,0x5d,0x44,0xad,0x27,0x4b,0xa6,0xfc,0xf4,0x3c,0x33,0x6a,
		0xbc,0x3a,0xf6,0xe1,0x27,0xb3,0x3e,0x6f,0x37,0x68,0x1c,0x71,0xe8,0x8d,0x6b,0xcf,
		0x55,0xeb,0xa7,0x7d,0xb6,0xaf,0xcd,0x6d,0x70,0xfa,0xf6,0x57,0xe4,0xf1,0x91,0xf5,
		0x49
};
const uint16_t CACertLen = sizeof(CACert);
/* USER CODE END PV */

void SystemClock_Config(void);
static void MX_GPIO_Init(void);
static void MX_I2C1_Init(void);
static void MX_I2S3_Init(void);
static void MX_SPI1_Init(void);
static void MX_CRC_Init(void);
static void MX_RNG_Init(void);

/* USER CODE BEGIN 0 */

void transmitBuffer(uint8_t *data, uint16_t length) {
	// cely sendBuffer sa rozkuskuje na 64 bytove pakety ktore CDC_Transmit_FS vie preniest seriovo
	// Middlewares/ST/STM32_USB_Device_Library/Core/Inc/usbd_def.h
	// riadok 156 - #define USB_FS_MAX_PACKET_SIZE 64U - paket ma max velkost 64 bytov na transmit
    uint16_t sent = 0;
    while (sent < length) {
    	uint16_t chunk = (length - sent > 64) ? 64 : (length - sent);
    	while (CDC_Transmit_FS(data + sent, chunk) == USBD_BUSY) {
    		// cakame kym sa skonci prenos paketu
    	}
    	sent += chunk;
    }
}

void USBReceiveHandler() {
	if (messageCounter == 1) {
		uint8_t* receivedChars = malloc(4);
		memcpy(receivedChars, &receiveBuffer[0], 4);
		firstMessageHandler(receivedChars);
		free(receivedChars);
		messageCounter = 3;
	} else if (messageCounter == 3) {
		uint8_t* encryptedKey = malloc(256);
		uint8_t* encryptedIV = malloc(256);
		uint8_t* payload = malloc(512);
		uint16_t deviceCertLen = receiveCounter - 1024;
		uint8_t* deviceCertBuffer = malloc(deviceCertLen);
		memcpy(encryptedKey, &receiveBuffer[0], 256);
		memcpy(encryptedIV, &receiveBuffer[256], 256);
		memcpy(payload, &receiveBuffer[512], 512);
		memcpy(deviceCertBuffer, &receiveBuffer[1024], deviceCertLen);
		thirdMessageHandler(encryptedKey, encryptedIV, payload, deviceCertBuffer, deviceCertLen);
		free(encryptedKey);
		free(encryptedIV);
		free(payload);
		free(deviceCertBuffer);
		messageCounter = 5;
	} else {
		uint8_t* payload = malloc(512);
		uint8_t* sigHash = malloc(256);
		memcpy(payload, &receiveBuffer[0], 512);
		memcpy(sigHash, &receiveBuffer[512], 256);
		fifthMessageHandler(payload, sigHash);
		free(payload);
		free(sigHash);
		messageCounter = 1;
	}
	receiveCounter = 0;
	memset(&receiveBuffer, 0, sizeof(receiveBuffer));
	transmitBuffer(sendBuffer, sendCounter);
	sendCounter = 0;
	memset(&sendBuffer, 0, sizeof(sendBuffer));
}
/* USER CODE END 0 */

int main(void)
{

  /* MCU Configuration--------------------------------------------------------*/

  /* Reset of all peripherals, Initializes the Flash interface and the Systick. */
  HAL_Init();

  /* Configure the system clock */
  SystemClock_Config();

  /* Initialize all configured peripherals */
  MX_GPIO_Init();
  MX_I2C1_Init();
  MX_I2S3_Init();
  MX_SPI1_Init();
  MX_USB_DEVICE_Init();
  MX_CRC_Init();
  MX_RNG_Init();

  /* Infinite loop */
  /* USER CODE BEGIN WHILE */
  while (1)
  {
	  if (dataReceivedFlag == 1) {
		  USBReceiveHandler();
		  dataReceivedFlag = 0;
	  }
    /* USER CODE END WHILE */

  }
}

void SystemClock_Config(void)
{
  RCC_OscInitTypeDef RCC_OscInitStruct = {0};
  RCC_ClkInitTypeDef RCC_ClkInitStruct = {0};

  /** Configure the main internal regulator output voltage
  */
  __HAL_RCC_PWR_CLK_ENABLE();
  __HAL_PWR_VOLTAGESCALING_CONFIG(PWR_REGULATOR_VOLTAGE_SCALE1);

  /** Initializes the RCC Oscillators according to the specified parameters
  * in the RCC_OscInitTypeDef structure.
  */
  RCC_OscInitStruct.OscillatorType = RCC_OSCILLATORTYPE_HSE;
  RCC_OscInitStruct.HSEState = RCC_HSE_ON;
  RCC_OscInitStruct.PLL.PLLState = RCC_PLL_ON;
  RCC_OscInitStruct.PLL.PLLSource = RCC_PLLSOURCE_HSE;
  RCC_OscInitStruct.PLL.PLLM = 8;
  RCC_OscInitStruct.PLL.PLLN = 336;
  RCC_OscInitStruct.PLL.PLLP = RCC_PLLP_DIV2;
  RCC_OscInitStruct.PLL.PLLQ = 7;
  if (HAL_RCC_OscConfig(&RCC_OscInitStruct) != HAL_OK)
  {
    Error_Handler();
  }

  /** Initializes the CPU, AHB and APB buses clocks
  */
  RCC_ClkInitStruct.ClockType = RCC_CLOCKTYPE_HCLK|RCC_CLOCKTYPE_SYSCLK
                              |RCC_CLOCKTYPE_PCLK1|RCC_CLOCKTYPE_PCLK2;
  RCC_ClkInitStruct.SYSCLKSource = RCC_SYSCLKSOURCE_PLLCLK;
  RCC_ClkInitStruct.AHBCLKDivider = RCC_SYSCLK_DIV1;
  RCC_ClkInitStruct.APB1CLKDivider = RCC_HCLK_DIV4;
  RCC_ClkInitStruct.APB2CLKDivider = RCC_HCLK_DIV2;

  if (HAL_RCC_ClockConfig(&RCC_ClkInitStruct, FLASH_LATENCY_5) != HAL_OK)
  {
    Error_Handler();
  }
}

static void MX_CRC_Init(void)
{

  hcrc.Instance = CRC;
  if (HAL_CRC_Init(&hcrc) != HAL_OK)
  {
    Error_Handler();
  }

}

static void MX_I2C1_Init(void)
{

  hi2c1.Instance = I2C1;
  hi2c1.Init.ClockSpeed = 100000;
  hi2c1.Init.DutyCycle = I2C_DUTYCYCLE_2;
  hi2c1.Init.OwnAddress1 = 0;
  hi2c1.Init.AddressingMode = I2C_ADDRESSINGMODE_7BIT;
  hi2c1.Init.DualAddressMode = I2C_DUALADDRESS_DISABLE;
  hi2c1.Init.OwnAddress2 = 0;
  hi2c1.Init.GeneralCallMode = I2C_GENERALCALL_DISABLE;
  hi2c1.Init.NoStretchMode = I2C_NOSTRETCH_DISABLE;
  if (HAL_I2C_Init(&hi2c1) != HAL_OK)
  {
    Error_Handler();
  }

}

static void MX_I2S3_Init(void)
{

  hi2s3.Instance = SPI3;
  hi2s3.Init.Mode = I2S_MODE_MASTER_TX;
  hi2s3.Init.Standard = I2S_STANDARD_PHILIPS;
  hi2s3.Init.DataFormat = I2S_DATAFORMAT_16B;
  hi2s3.Init.MCLKOutput = I2S_MCLKOUTPUT_ENABLE;
  hi2s3.Init.AudioFreq = I2S_AUDIOFREQ_96K;
  hi2s3.Init.CPOL = I2S_CPOL_LOW;
  hi2s3.Init.ClockSource = I2S_CLOCK_PLL;
  hi2s3.Init.FullDuplexMode = I2S_FULLDUPLEXMODE_DISABLE;
  if (HAL_I2S_Init(&hi2s3) != HAL_OK)
  {
    Error_Handler();
  }

}

static void MX_RNG_Init(void)
{

  hrng.Instance = RNG;
  if (HAL_RNG_Init(&hrng) != HAL_OK)
  {
    Error_Handler();
  }

}

static void MX_SPI1_Init(void)
{

  /* SPI1 parameter configuration*/
  hspi1.Instance = SPI1;
  hspi1.Init.Mode = SPI_MODE_MASTER;
  hspi1.Init.Direction = SPI_DIRECTION_2LINES;
  hspi1.Init.DataSize = SPI_DATASIZE_8BIT;
  hspi1.Init.CLKPolarity = SPI_POLARITY_LOW;
  hspi1.Init.CLKPhase = SPI_PHASE_1EDGE;
  hspi1.Init.NSS = SPI_NSS_SOFT;
  hspi1.Init.BaudRatePrescaler = SPI_BAUDRATEPRESCALER_2;
  hspi1.Init.FirstBit = SPI_FIRSTBIT_MSB;
  hspi1.Init.TIMode = SPI_TIMODE_DISABLE;
  hspi1.Init.CRCCalculation = SPI_CRCCALCULATION_DISABLE;
  hspi1.Init.CRCPolynomial = 10;
  if (HAL_SPI_Init(&hspi1) != HAL_OK)
  {
    Error_Handler();
  }

}

static void MX_GPIO_Init(void)
{
  GPIO_InitTypeDef GPIO_InitStruct = {0};

  /* GPIO Ports Clock Enable */
  __HAL_RCC_GPIOE_CLK_ENABLE();
  __HAL_RCC_GPIOC_CLK_ENABLE();
  __HAL_RCC_GPIOH_CLK_ENABLE();
  __HAL_RCC_GPIOA_CLK_ENABLE();
  __HAL_RCC_GPIOB_CLK_ENABLE();
  __HAL_RCC_GPIOD_CLK_ENABLE();

  /*Configure GPIO pin Output Level */
  HAL_GPIO_WritePin(CS_I2C_SPI_GPIO_Port, CS_I2C_SPI_Pin, GPIO_PIN_RESET);

  /*Configure GPIO pin Output Level */
  HAL_GPIO_WritePin(OTG_FS_PowerSwitchOn_GPIO_Port, OTG_FS_PowerSwitchOn_Pin, GPIO_PIN_SET);

  /*Configure GPIO pin Output Level */
  HAL_GPIO_WritePin(GPIOD, LD4_Pin|LD3_Pin|LD5_Pin|LD6_Pin
                          |Audio_RST_Pin, GPIO_PIN_RESET);

  /*Configure GPIO pin : CS_I2C_SPI_Pin */
  GPIO_InitStruct.Pin = CS_I2C_SPI_Pin;
  GPIO_InitStruct.Mode = GPIO_MODE_OUTPUT_PP;
  GPIO_InitStruct.Pull = GPIO_NOPULL;
  GPIO_InitStruct.Speed = GPIO_SPEED_FREQ_LOW;
  HAL_GPIO_Init(CS_I2C_SPI_GPIO_Port, &GPIO_InitStruct);

  /*Configure GPIO pin : OTG_FS_PowerSwitchOn_Pin */
  GPIO_InitStruct.Pin = OTG_FS_PowerSwitchOn_Pin;
  GPIO_InitStruct.Mode = GPIO_MODE_OUTPUT_PP;
  GPIO_InitStruct.Pull = GPIO_NOPULL;
  GPIO_InitStruct.Speed = GPIO_SPEED_FREQ_LOW;
  HAL_GPIO_Init(OTG_FS_PowerSwitchOn_GPIO_Port, &GPIO_InitStruct);

  /*Configure GPIO pin : PDM_OUT_Pin */
  GPIO_InitStruct.Pin = PDM_OUT_Pin;
  GPIO_InitStruct.Mode = GPIO_MODE_AF_PP;
  GPIO_InitStruct.Pull = GPIO_NOPULL;
  GPIO_InitStruct.Speed = GPIO_SPEED_FREQ_LOW;
  GPIO_InitStruct.Alternate = GPIO_AF5_SPI2;
  HAL_GPIO_Init(PDM_OUT_GPIO_Port, &GPIO_InitStruct);

  /*Configure GPIO pin : B1_Pin */
  GPIO_InitStruct.Pin = B1_Pin;
  GPIO_InitStruct.Mode = GPIO_MODE_EVT_RISING;
  GPIO_InitStruct.Pull = GPIO_NOPULL;
  HAL_GPIO_Init(B1_GPIO_Port, &GPIO_InitStruct);

  /*Configure GPIO pin : BOOT1_Pin */
  GPIO_InitStruct.Pin = BOOT1_Pin;
  GPIO_InitStruct.Mode = GPIO_MODE_INPUT;
  GPIO_InitStruct.Pull = GPIO_NOPULL;
  HAL_GPIO_Init(BOOT1_GPIO_Port, &GPIO_InitStruct);

  /*Configure GPIO pin : CLK_IN_Pin */
  GPIO_InitStruct.Pin = CLK_IN_Pin;
  GPIO_InitStruct.Mode = GPIO_MODE_AF_PP;
  GPIO_InitStruct.Pull = GPIO_NOPULL;
  GPIO_InitStruct.Speed = GPIO_SPEED_FREQ_LOW;
  GPIO_InitStruct.Alternate = GPIO_AF5_SPI2;
  HAL_GPIO_Init(CLK_IN_GPIO_Port, &GPIO_InitStruct);

  /*Configure GPIO pins : LD4_Pin LD3_Pin LD5_Pin LD6_Pin
                           Audio_RST_Pin */
  GPIO_InitStruct.Pin = LD4_Pin|LD3_Pin|LD5_Pin|LD6_Pin
                          |Audio_RST_Pin;
  GPIO_InitStruct.Mode = GPIO_MODE_OUTPUT_PP;
  GPIO_InitStruct.Pull = GPIO_NOPULL;
  GPIO_InitStruct.Speed = GPIO_SPEED_FREQ_LOW;
  HAL_GPIO_Init(GPIOD, &GPIO_InitStruct);

  /*Configure GPIO pin : OTG_FS_OverCurrent_Pin */
  GPIO_InitStruct.Pin = OTG_FS_OverCurrent_Pin;
  GPIO_InitStruct.Mode = GPIO_MODE_INPUT;
  GPIO_InitStruct.Pull = GPIO_NOPULL;
  HAL_GPIO_Init(OTG_FS_OverCurrent_GPIO_Port, &GPIO_InitStruct);

  /*Configure GPIO pin : MEMS_INT2_Pin */
  GPIO_InitStruct.Pin = MEMS_INT2_Pin;
  GPIO_InitStruct.Mode = GPIO_MODE_EVT_RISING;
  GPIO_InitStruct.Pull = GPIO_NOPULL;
  HAL_GPIO_Init(MEMS_INT2_GPIO_Port, &GPIO_InitStruct);

}

void Error_Handler(void)
{
  __disable_irq();
  while (1)
  {
  }
}
